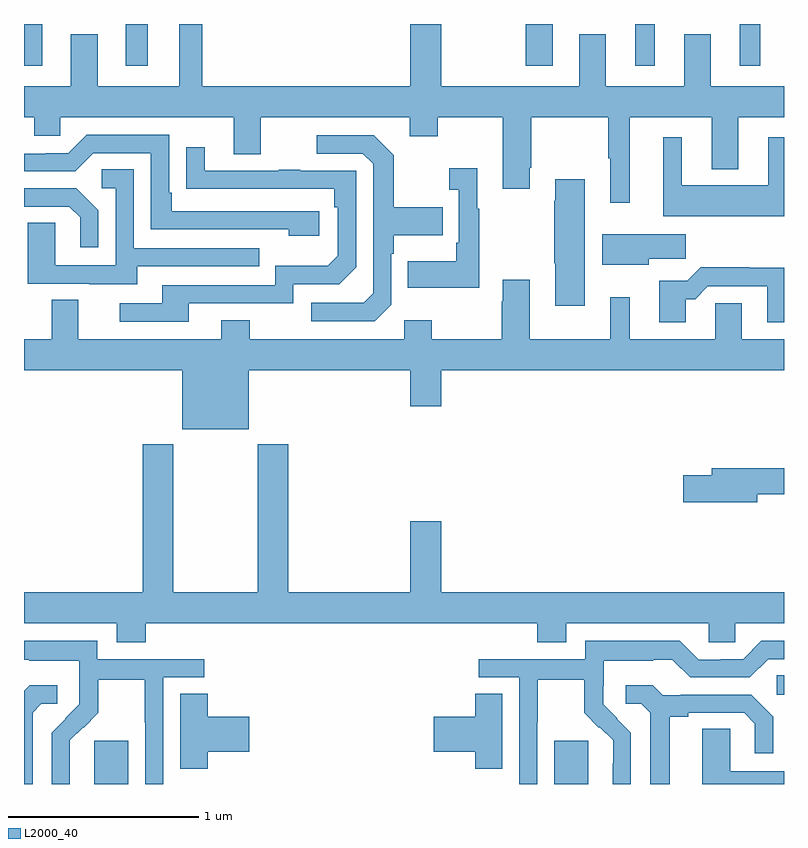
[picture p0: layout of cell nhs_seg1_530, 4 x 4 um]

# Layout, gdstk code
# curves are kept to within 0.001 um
import gdstk
lib = gdstk.Library(unit=1e-6, precision=1e-09)
def R(c, l, rs):  # rectangles x0, y0, x1, y1
    for r in rs: c.add(gdstk.rectangle(r[:2], r[2:], *l))
def P(c, l, *ps):  # polygons
    for p in ps: c.add(gdstk.Polygon(p, *l))
L2000_40 = (2000, 40)

nhs_seg1_530 = lib.new_cell('nhs_seg1_530')
R(nhs_seg1_530, L2000_40, [(139.37,572.199,139.549,572.427), (141.791,572.199,141.97,572.427), (142.962,572.67,143,572.771), (139,575.979,139.096,576.199), (139.535,575.979,139.651,576.199), (141.64,575.979,141.784,576.199), (142.217,575.979,142.321,576.199), (142.766,575.979,142.876,576.199)])
P(nhs_seg1_530, L2000_40, [(142.619,575.435),(142.759,575.435),(142.759,575.708),(143,575.708),(143,575.872),(142.615,575.872),(142.615,576.145),(142.475,576.145),(142.475,575.872),(142.063,575.872),(142.063,576.145),(141.923,576.145),(141.923,575.872),(141.196,575.872),(141.196,576.199),(141.032,576.199),(141.032,575.872),(139.939,575.872),(139.939,576.199),(139.817,576.199),(139.817,575.872),(139.387,575.872),(139.387,576.145),(139.247,576.145),(139.247,575.872),(139,575.872),(139,575.708),(139.053,575.708),(139.053,575.61),(139.191,575.61),(139.191,575.708),(140.105,575.708),(140.105,575.514),(140.245,575.514),(140.245,575.708),(141.029,575.708),(141.029,575.609),(141.177,575.609),(141.177,575.708),(141.521,575.708),(141.521,575.331),(141.661,575.331),(141.661,575.443),(141.669,575.443),(141.669,575.708),(142.075,575.708),(142.075,575.492),(142.085,575.492),(142.085,575.259),(142.189,575.259),(142.189,575.708),(142.619,575.708)],
  [(140.554,575.214),(139.777,575.214),(139.777,575.311),(139.764,575.311),(139.764,575.616),(139.329,575.616),(139.233,575.52),(139.115,575.52),(139.115,575.517),(139,575.517),(139,575.424),(139.269,575.424),(139.365,575.52),(139.668,575.52),(139.668,575.118),(140.393,575.118),(140.393,575.084),(140.554,575.084)],
  [(140.934,574.722),(140.934,574.991),(140.947,574.991),(140.947,575.087),(141.203,575.087),(141.203,575.235),(140.947,575.235),(140.947,575.507),(140.841,575.613),(140.541,575.613),(140.541,575.517),(140.784,575.517),(140.838,575.463),(140.838,574.782),(140.787,574.731),(140.511,574.731),(140.511,574.635),(140.847,574.635)],
  [(143,575.602),(142.916,575.602),(142.916,575.35),(142.462,575.35),(142.462,575.602),(142.364,575.602),(142.364,575.186),(143,575.186)],
  [(139.867,574.728),(140.418,574.728),(140.418,574.83),(140.658,574.83),(140.748,574.92),(140.748,575.427),(140.453,575.427),(140.453,575.432),(140.341,575.432),(140.341,575.427),(139.951,575.427),(139.951,575.551),(139.855,575.551),(139.855,575.332),(140.632,575.331),(140.632,575.234),(140.652,575.234),(140.652,574.98),(140.599,574.927),(140.322,574.927),(140.322,574.824),(139.727,574.824),(139.727,574.728),(139.503,574.728),(139.503,574.632),(139.867,574.632)],
  [(141.397,575.227),(141.385,575.227),(141.385,575.44),(141.237,575.44),(141.237,575.327),(141.288,575.327),(141.288,575.047),(141.276,575.047),(141.276,574.951),(141.019,574.951),(141.019,574.811),(141.397,574.811)],
  [(139.597,574.923),(140.237,574.923),(140.237,575.019),(139.578,575.019),(139.578,575.435),(139.41,575.435),(139.41,575.334),(139.482,575.334),(139.482,574.929),(139.164,574.929),(139.164,575.153),(139.019,575.153),(139.019,574.833),(139.343,574.833),(139.343,574.829),(139.597,574.829)],
  [(141.952,575.383),(141.797,575.383),(141.797,575.27),(141.79,575.27),(141.79,574.939),(141.797,574.939),(141.797,574.716),(141.952,574.716)],
  [(139.392,575.218),(139.276,575.334),(139,575.334),(139,575.238),(139.238,575.238),(139.295,575.181),(139.295,575.025),(139.392,575.025)],
  [(142.288,574.963),(142.483,574.963),(142.483,575.092),(142.044,575.092),(142.044,574.931),(142.288,574.931)],
  [(142.483,574.751),(142.532,574.751),(142.599,574.818),(142.913,574.818),(142.913,574.629),(143,574.629),(143,574.916),(142.817,574.916),(142.817,574.919),(142.562,574.919),(142.492,574.849),(142.343,574.849),(142.343,574.629),(142.483,574.629)],
  [(140.182,574.376),(141.032,574.376),(141.032,574.188),(141.196,574.188),(141.196,574.376),(143,574.376),(143,574.54),(142.777,574.54),(142.777,574.73),(142.638,574.73),(142.638,574.54),(142.189,574.54),(142.189,574.762),(142.085,574.762),(142.085,574.54),(141.661,574.54),(141.661,574.852),(141.521,574.852),(141.521,574.739),(141.514,574.739),(141.514,574.54),(141.147,574.54),(141.147,574.639),(141,574.639),(141,574.54),(140.187,574.54),(140.187,574.639),(140.039,574.639),(140.039,574.54),(139.285,574.54),(139.285,574.748),(139.145,574.748),(139.145,574.54),(139,574.54),(139,574.376),(139.832,574.376),(139.832,574.067),(140.182,574.067)],
  [(139.64,573.044),(141.701,573.044),(141.701,572.945),(141.853,572.945),(141.853,573.044),(142.605,573.044),(142.605,572.946),(142.743,572.946),(142.743,573.044),(143,573.044),(143,573.208),(141.196,573.208),(141.196,573.583),(141.032,573.583),(141.032,573.208),(140.39,573.208),(140.39,573.988),(140.23,573.988),(140.23,573.208),(139.785,573.208),(139.785,573.988),(139.625,573.988),(139.625,573.208),(139,573.208),(139,573.044),(139.487,573.044),(139.487,572.945),(139.64,572.945)],
  [(142.858,573.724),(143,573.724),(143,573.86),(142.619,573.86),(142.619,573.824),(142.47,573.824),(142.47,573.682),(142.858,573.682)],
  [(139.242,572.306),(139.241,572.429),(139.311,572.499),(139.314,572.496),(139.391,572.573),(139.391,572.748),(139.636,572.748),(139.636,572.524),(139.638,572.524),(139.638,572.199),(139.734,572.199),(139.734,572.76),(139.948,572.76),(139.948,572.856),(139.386,572.856),(139.386,572.953),(139,572.953),(139,572.853),(139.027,572.853),(139.027,572.849),(139.29,572.849),(139.29,572.715),(139.292,572.715),(139.292,572.618),(139.146,572.47),(139.146,572.199),(139.242,572.199)],
  [(141.702,572.524),(141.705,572.524),(141.705,572.748),(141.949,572.748),(141.949,572.573),(142.026,572.496),(142.029,572.499),(142.1,572.429),(142.1,572.306),(142.098,572.306),(142.098,572.199),(142.194,572.199),(142.194,572.47),(142.048,572.618),(142.048,572.715),(142.05,572.715),(142.05,572.849),(142.313,572.849),(142.313,572.853),(142.413,572.853),(142.506,572.76),(142.821,572.76),(142.917,572.856),(143,572.856),(143,572.952),(142.881,572.952),(142.785,572.856),(142.667,572.856),(142.667,572.853),(142.551,572.853),(142.451,572.953),(141.954,572.953),(141.954,572.856),(141.393,572.856),(141.393,572.76),(141.606,572.76),(141.606,572.199),(141.702,572.199)],
  [(142.399,572.552),(142.495,572.552),(142.495,572.574),(142.79,572.574),(142.847,572.517),(142.847,572.361),(142.944,572.361),(142.944,572.554),(142.828,572.67),(142.456,572.67),(142.456,572.667),(142.362,572.667),(142.31,572.719),(142.167,572.719),(142.167,572.622),(142.248,572.622),(142.295,572.575),(142.295,572.199),(142.399,572.199)],
  [(139.045,572.575),(139.092,572.622),(139.174,572.622),(139.174,572.719),(139.03,572.719),(139,572.689),(139,572.199),(139.045,572.199)],
  [(139.967,572.369),(140.185,572.369),(140.185,572.552),(139.967,572.552),(139.967,572.675),(139.823,572.675),(139.823,572.278),(139.967,572.278)],
  [(141.517,572.675),(141.374,572.675),(141.374,572.552),(141.156,572.552),(141.156,572.369),(141.374,572.369),(141.374,572.278),(141.517,572.278)],
  [(143,572.265),(142.716,572.265),(142.716,572.489),(142.571,572.489),(142.571,572.199),(143,572.199)])

lib.write_gds('nhs_seg1_530.gds')
